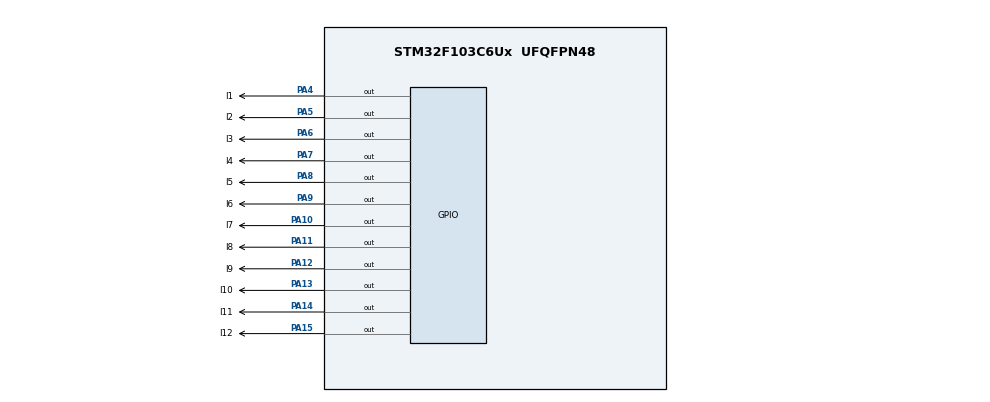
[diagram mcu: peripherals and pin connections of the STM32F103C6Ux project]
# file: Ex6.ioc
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Mcu.Family=STM32F1
Mcu.Name=STM32F103C6Ux
Mcu.Package=UFQFPN48
NVIC.PriorityGroup=NVIC_PRIORITYGROUP_4
PA10.GPIO_Label=l7
PA10.Signal=GPIO_Output
PA11.GPIO_Label=l8
PA11.Signal=GPIO_Output
PA12.GPIO_Label=l9
PA12.Signal=GPIO_Output
PA13.GPIO_Label=l10
PA13.Signal=GPIO_Output
PA14.GPIO_Label=l11
PA14.Signal=GPIO_Output
PA15.GPIO_Label=l12
PA15.Signal=GPIO_Output
PA4.GPIO_Label=l1
PA4.Signal=GPIO_Output
PA5.GPIO_Label=l2
PA5.Signal=GPIO_Output
PA6.GPIO_Label=l3
PA6.Signal=GPIO_Output
PA7.GPIO_Label=l4
PA7.Signal=GPIO_Output
PA8.GPIO_Label=l5
PA8.Signal=GPIO_Output
PA9.GPIO_Label=l6
PA9.Signal=GPIO_Output
ProjectManager.HeapSize=0x200
ProjectManager.StackSize=0x400
ProjectManager.TargetToolchain=STM32CubeIDE
RCC.APB1Freq_Value=8000000
RCC.APB2Freq_Value=8000000
VP_SYS_VS_ND.Mode=No_Debug
board=custom

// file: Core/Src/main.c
/* USER CODE BEGIN Header */
/**
  ******************************************************************************
  * @file           : main.c
  * @brief          : Main program body
  ******************************************************************************
  * @attention
  *
  * <h2><center>&copy; Copyright (c) 2024 STMicroelectronics.
  * All rights reserved.</center></h2>
  *
  * This software component is licensed by ST under BSD 3-Clause license,
  * the "License"; You may not use this file except in compliance with the
  * License. You may obtain a copy of the License at:
  *                        opensource.org/licenses/BSD-3-Clause
  *
  ******************************************************************************
  */
/* USER CODE END Header */
#include "main.h"

void SystemClock_Config(void);
static void MX_GPIO_Init(void);

/* USER CODE BEGIN 0 */
void setNumberOnClock(int num)
{
	if(num == 0) HAL_GPIO_WritePin(l1_GPIO_Port, l1_Pin, GPIO_PIN_SET);
	if(num == 1) HAL_GPIO_WritePin(l2_GPIO_Port, l2_Pin, GPIO_PIN_SET);
	if(num == 2) HAL_GPIO_WritePin(l3_GPIO_Port, l3_Pin, GPIO_PIN_SET);
	if(num == 3) HAL_GPIO_WritePin(l4_GPIO_Port, l4_Pin, GPIO_PIN_SET);
	if(num == 4) HAL_GPIO_WritePin(l5_GPIO_Port, l5_Pin, GPIO_PIN_SET);
	if(num == 5) HAL_GPIO_WritePin(l6_GPIO_Port, l6_Pin, GPIO_PIN_SET);
	if(num == 6) HAL_GPIO_WritePin(l7_GPIO_Port, l7_Pin, GPIO_PIN_SET);
	if(num == 7) HAL_GPIO_WritePin(l8_GPIO_Port, l8_Pin, GPIO_PIN_SET);
	if(num == 8) HAL_GPIO_WritePin(l9_GPIO_Port, l9_Pin, GPIO_PIN_SET);
	if(num == 9) HAL_GPIO_WritePin(l10_GPIO_Port, l10_Pin, GPIO_PIN_SET);
	if(num == 10) HAL_GPIO_WritePin(l11_GPIO_Port, l11_Pin, GPIO_PIN_SET);
	if(num == 11) HAL_GPIO_WritePin(l12_GPIO_Port, l12_Pin, GPIO_PIN_SET);
}
void clearNumberOnClock(int num)
{
	if(num == 0) HAL_GPIO_WritePin(l1_GPIO_Port, l1_Pin, GPIO_PIN_RESET);
	if(num == 1) HAL_GPIO_WritePin(l2_GPIO_Port, l2_Pin, GPIO_PIN_RESET);
	if(num == 2) HAL_GPIO_WritePin(l3_GPIO_Port, l3_Pin, GPIO_PIN_RESET);
	if(num == 3) HAL_GPIO_WritePin(l4_GPIO_Port, l4_Pin, GPIO_PIN_RESET);
	if(num == 4) HAL_GPIO_WritePin(l5_GPIO_Port, l5_Pin, GPIO_PIN_RESET);
	if(num == 5) HAL_GPIO_WritePin(l6_GPIO_Port, l6_Pin, GPIO_PIN_RESET);
	if(num == 6) HAL_GPIO_WritePin(l7_GPIO_Port, l7_Pin, GPIO_PIN_RESET);
	if(num == 7) HAL_GPIO_WritePin(l8_GPIO_Port, l8_Pin, GPIO_PIN_RESET);
	if(num == 8) HAL_GPIO_WritePin(l9_GPIO_Port, l9_Pin, GPIO_PIN_RESET);
	if(num == 9) HAL_GPIO_WritePin(l10_GPIO_Port, l10_Pin, GPIO_PIN_RESET);
	if(num == 10) HAL_GPIO_WritePin(l11_GPIO_Port, l11_Pin, GPIO_PIN_RESET);
	if(num == 11) HAL_GPIO_WritePin(l12_GPIO_Port, l12_Pin, GPIO_PIN_RESET);
}
void clearAllClock() {
	HAL_GPIO_WritePin(l1_GPIO_Port, l1_Pin, GPIO_PIN_RESET);
	HAL_GPIO_WritePin(l2_GPIO_Port, l2_Pin, GPIO_PIN_RESET);
	HAL_GPIO_WritePin(l3_GPIO_Port, l3_Pin, GPIO_PIN_RESET);
	HAL_GPIO_WritePin(l4_GPIO_Port, l4_Pin, GPIO_PIN_RESET);
	HAL_GPIO_WritePin(l5_GPIO_Port, l5_Pin, GPIO_PIN_RESET);
	HAL_GPIO_WritePin(l6_GPIO_Port, l6_Pin, GPIO_PIN_RESET);
	HAL_GPIO_WritePin(l7_GPIO_Port, l7_Pin, GPIO_PIN_RESET);
	HAL_GPIO_WritePin(l8_GPIO_Port, l8_Pin, GPIO_PIN_RESET);
	HAL_GPIO_WritePin(l9_GPIO_Port, l9_Pin, GPIO_PIN_RESET);
	HAL_GPIO_WritePin(l10_GPIO_Port, l10_Pin, GPIO_PIN_RESET);
	HAL_GPIO_WritePin(l11_GPIO_Port, l11_Pin, GPIO_PIN_RESET);
	HAL_GPIO_WritePin(l12_GPIO_Port, l12_Pin, GPIO_PIN_RESET);
}
/* USER CODE END 0 */

int main(void)
{

  /* MCU Configuration--------------------------------------------------------*/

  /* Reset of all peripherals, Initializes the Flash interface and the Systick. */
  HAL_Init();

  /* Configure the system clock */
  SystemClock_Config();

  /* Initialize all configured peripherals */
  MX_GPIO_Init();

  /* Infinite loop */
  /* USER CODE BEGIN WHILE */

  while (1)
  {
	  for (int h = 0 ; h < 12; h++){
	   for (int m = 0; m < 60; m++) {
	   for (int s = 0; s < 60 ; s++) {
		   clearAllClock();
		   setNumberOnClock(h);
		   setNumberOnClock(m/5);
		   setNumberOnClock(s/5);
		   HAL_Delay(50);
	   }
	   }
	  }
  }

    /* USER CODE END WHILE */

  }

void SystemClock_Config(void)
{
  RCC_OscInitTypeDef RCC_OscInitStruct = {0};
  RCC_ClkInitTypeDef RCC_ClkInitStruct = {0};

  /** Initializes the RCC Oscillators according to the specified parameters
  * in the RCC_OscInitTypeDef structure.
  */
  RCC_OscInitStruct.OscillatorType = RCC_OSCILLATORTYPE_HSI;
  RCC_OscInitStruct.HSIState = RCC_HSI_ON;
  RCC_OscInitStruct.HSICalibrationValue = RCC_HSICALIBRATION_DEFAULT;
  RCC_OscInitStruct.PLL.PLLState = RCC_PLL_NONE;
  if (HAL_RCC_OscConfig(&RCC_OscInitStruct) != HAL_OK)
  {
    Error_Handler();
  }
  /** Initializes the CPU, AHB and APB buses clocks
  */
  RCC_ClkInitStruct.ClockType = RCC_CLOCKTYPE_HCLK|RCC_CLOCKTYPE_SYSCLK
                              |RCC_CLOCKTYPE_PCLK1|RCC_CLOCKTYPE_PCLK2;
  RCC_ClkInitStruct.SYSCLKSource = RCC_SYSCLKSOURCE_HSI;
  RCC_ClkInitStruct.AHBCLKDivider = RCC_SYSCLK_DIV1;
  RCC_ClkInitStruct.APB1CLKDivider = RCC_HCLK_DIV1;
  RCC_ClkInitStruct.APB2CLKDivider = RCC_HCLK_DIV1;

  if (HAL_RCC_ClockConfig(&RCC_ClkInitStruct, FLASH_LATENCY_0) != HAL_OK)
  {
    Error_Handler();
  }
}

static void MX_GPIO_Init(void)
{
  GPIO_InitTypeDef GPIO_InitStruct = {0};

  /* GPIO Ports Clock Enable */
  __HAL_RCC_GPIOA_CLK_ENABLE();

  /*Configure GPIO pin Output Level */
  HAL_GPIO_WritePin(GPIOA, l1_Pin|l2_Pin|l3_Pin|l4_Pin
                          |l5_Pin|l6_Pin|l7_Pin|l8_Pin
                          |l9_Pin|l10_Pin|l11_Pin|l12_Pin, GPIO_PIN_RESET);

  /*Configure GPIO pins : l1_Pin l2_Pin l3_Pin l4_Pin
                           l5_Pin l6_Pin l7_Pin l8_Pin
                           l9_Pin l10_Pin l11_Pin l12_Pin */
  GPIO_InitStruct.Pin = l1_Pin|l2_Pin|l3_Pin|l4_Pin
                          |l5_Pin|l6_Pin|l7_Pin|l8_Pin
                          |l9_Pin|l10_Pin|l11_Pin|l12_Pin;
  GPIO_InitStruct.Mode = GPIO_MODE_OUTPUT_PP;
  GPIO_InitStruct.Pull = GPIO_NOPULL;
  GPIO_InitStruct.Speed = GPIO_SPEED_FREQ_LOW;
  HAL_GPIO_Init(GPIOA, &GPIO_InitStruct);

}

void Error_Handler(void)
{
  __disable_irq();
  while (1)
  {
  }
}

/************************ (C) COPYRIGHT STMicroelectronics *****END OF FILE****/
